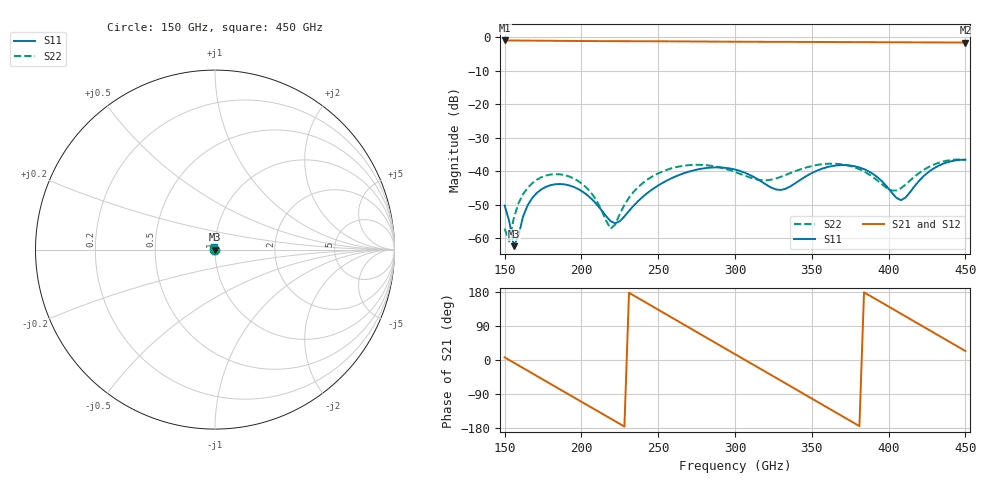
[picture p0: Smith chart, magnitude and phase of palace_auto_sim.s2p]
#  GHZ S DB R 50
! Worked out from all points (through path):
!   101 points, 150 GHz to 450 GHz, reference 50 ohm
!   highest |S21| = -0.92 dB at 150 GHz (marker M1); lowest = -1.6 dB at 450 GHz (marker M2)
!   group delay of S21, straight-line fit = 6.51 ps
!   lowest |S11| = -62.3 dB at 156 GHz (marker M3), VSWR 1.00, Z = 50 - j0.063 ohm
!   |S11| at or under -10 dB: start of sweep to end of sweep
!   |S22| runs from -60.9 to -36.5 dB; largest |S21 - S12| = 1e-13
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150  -50.19 -156.2  -0.92 7.1  -0.92 7.1  -57.13 -131.3
153  -54.90 -155.3  -0.93 0.1  -0.93 0.1  -60.89 -59.6
156  -62.34 -124.4  -0.94 -7.0  -0.94 -7.0  -53.90 -27.1
165  -50.15 -44.3  -0.97 -28.1  -0.97 -28.1  -44.91 -36.4
171  -46.43 -58.0  -0.98 -42.2  -0.98 -42.2  -42.49 -51.4
186  -43.78 -103.3  -1.04 -77.4  -1.04 -77.4  -40.88 -94.4
201  -46.12 -157.2  -1.09 -112.5  -1.09 -112.5  -43.92 -142.5
219  -54.87 97.9  -1.13 -154.5  -1.13 -154.5  -57.14 98.0
234  -50.25 -24.4  -1.15 170.3  -1.15 170.3  -46.11 -23.0
252  -43.67 -96.8  -1.17 128.1  -1.17 128.1  -40.19 -81.4
264  -41.02 -139.5  -1.20 99.8  -1.20 99.8  -38.52 -120.3
276  -39.40 178.5  -1.23 71.7  -1.23 71.7  -38.04 -161.4
300  -39.46 93.3  -1.29 15.4  -1.29 15.4  -40.18 103.6
321  -44.16 -1.6  -1.33 -33.7  -1.33 -33.7  -42.65 -12.2
336  -44.50 -104.2  -1.34 -68.9  -1.34 -68.9  -40.52 -92.6
351  -40.28 -174.5  -1.37 -104.1  -1.37 -104.1  -38.32 -152.7
378  -38.48 98.1  -1.42 -167.4  -1.42 -167.4  -38.83 113.0
390  -40.82 57.9  -1.44 164.5  -1.44 164.5  -41.78 64.0
402  -46.31 -1.2  -1.46 136.3  -1.46 136.3  -45.71 -13.5
411  -47.85 -88.5  -1.48 115.2  -1.48 115.2  -43.95 -84.5
426  -40.18 -171.9  -1.50 80.0  -1.50 80.0  -38.73 -154.7
450  -36.53 118.8  -1.55 23.7  -1.55 23.7  -36.55 129.7
